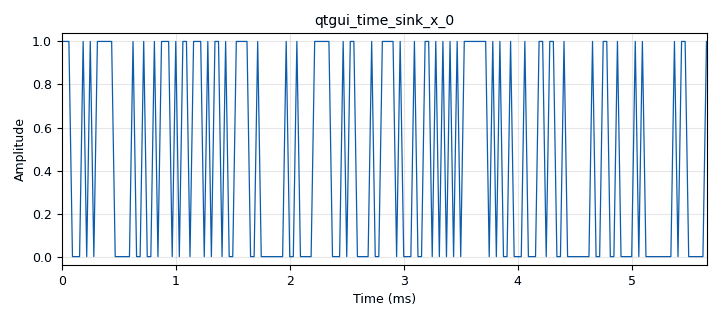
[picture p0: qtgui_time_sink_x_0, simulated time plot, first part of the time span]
<?xml version='1.0' encoding='utf-8'?>
<?grc format='1' created='3.7.10'?>
<flow_graph>
<block>
<key>options</key>
<param><key>id</key><value>random_bit_source_utilization</value></param>
<param><key>author</key><value>Alexandros-Apostolos A. Boulogeorgos</value></param>
<param><key>generate_options</key><value>qt_gui</value></param>
<param><key>title</key><value>PSK_modulation_step1</value></param>
</block>
<block>
<key>variable</key>
<param><key>id</key><value>samp_rate</value></param>
<param><key>value</key><value>32000</value></param>
</block>
<block>
<key>analog_random_source_x</key>
<param><key>id</key><value>analog_random_source_x_0</value></param>
<param><key>max</key><value>2</value></param>
<param><key>min</key><value>0</value></param>
<param><key>num_samps</key><value>1000</value></param>
<param><key>type</key><value>byte</value></param>
<param><key>repeat</key><value>True</value></param>
</block>
<block>
<key>blocks_char_to_float</key>
<param><key>id</key><value>blocks_char_to_float_0</value></param>
<param><key>scale</key><value>1</value></param>
</block>
<block>
<key>blocks_throttle</key>
<param><key>id</key><value>blocks_throttle_0</value></param>
<param><key>samples_per_second</key><value>samp_rate</value></param>
<param><key>type</key><value>float</value></param>
</block>
<block>
<key>qtgui_number_sink</key>
<param><key>id</key><value>qtgui_number_sink_0</value></param>
<param><key>gui_hint</key><value>0,1,1,1</value></param>
<param><key>graph_type</key><value>qtgui.NUM_GRAPH_HORIZ</value></param>
<param><key>type</key><value>float</value></param>
</block>
<block>
<key>qtgui_time_sink_x</key>
<param><key>id</key><value>qtgui_time_sink_x_0</value></param>
<param><key>gui_hint</key><value>0,0,1,1</value></param>
<param><key>color1</key><value>"blue"</value></param>
<param><key>label1</key><value></value></param>
<param><key>size</key><value>1024</value></param>
<param><key>srate</key><value>samp_rate</value></param>
<param><key>type</key><value>float</value></param>
<param><key>ymin</key><value>0</value></param>
</block>
<connection><source_block_id>analog_random_source_x_0</source_block_id><sink_block_id>blocks_char_to_float_0</sink_block_id><source_key>0</source_key><sink_key>0</sink_key></connection>
<connection><source_block_id>blocks_char_to_float_0</source_block_id><sink_block_id>blocks_throttle_0</sink_block_id><source_key>0</source_key><sink_key>0</sink_key></connection>
<connection><source_block_id>blocks_throttle_0</source_block_id><sink_block_id>qtgui_number_sink_0</sink_block_id><source_key>0</source_key><sink_key>0</sink_key></connection>
<connection><source_block_id>blocks_throttle_0</source_block_id><sink_block_id>qtgui_time_sink_x_0</sink_block_id><source_key>0</source_key><sink_key>0</sink_key></connection>
</flow_graph>
